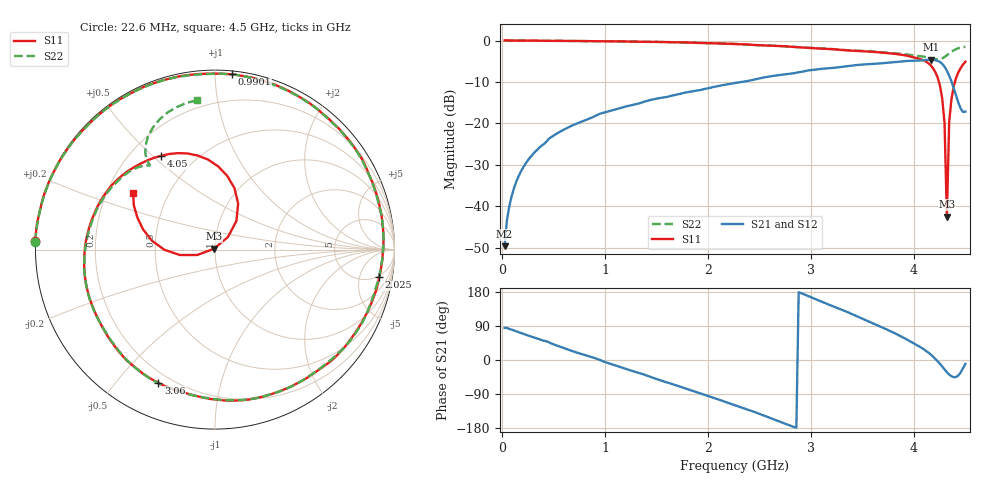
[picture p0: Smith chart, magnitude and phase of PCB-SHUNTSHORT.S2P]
!Agilent Technologies,E5071C,MY46101151,A.11.34
!Date: Mon Sep 17 23:23:37 2018
!Data & Calibration Information:
!Freq	S11:SOLT2(ON)	S21:SOLT2(ON)	S12:SOLT2(ON)	S22:SOLT2(ON)
!PortZ  Port1:50+j0  Port2:50+j0
!Above PortZ is port z conversion or system Z0 setting when saving the data.
!When reading, reference impedance value at option line is always used.
# Hz S dB R 50
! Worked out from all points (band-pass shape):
!   200 points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, 22.6 MHz to 4.5 GHz, reference 50 ohm
!   highest |S21| = -4.63 dB at 4.163 GHz (marker M1); lowest = -49.7 dB at 22.6 MHz (marker M2)
!   |S21| within 3 dB of the highest: 2.889 GHz to 4.327 GHz (1.438 GHz wide, 39.9 % of centre)
!   lowest |S11| = -42.5 dB at 4.32 GHz (marker M3), VSWR 1.02, Z = 49.4 + j0.482 ohm
!   |S11| at or under -10 dB: 4.243 GHz to 4.399 GHz (156 MHz wide, 3.61 % of centre)
!   |S22| runs from -4.5 to 0.0 dB; largest |S21 - S12| = 0.0017
!   S11 on the Smith chart (normalised r, x): 22.6 MHz: -0.00, +0.02; 990.1 MHz: 0.02, +1.10; 2.025 GHz: 5, -10; 3.06 GHz: 0.15, -0.65; 4.05 GHz: 0.33, +0.53; 4.5 GHz: 0.31, +0.28
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2.25995e7  0.02 177.4  -49.66 84.6  -49.63 85.9  0.02 177.4
4.5099e7  0.02 175.2  -43.44 84.7  -43.49 84.2  0.01 175.3
9.0098e7  0.01 170.8  -37.65 80.2  -37.60 79.9  -0.00 171.0
2.025955e8  -0.01 159.6  -30.66 69.2  -30.65 69.1  -0.01 160.0
7.875825e8  -0.12 103.2  -19.44 14.2  -19.42 14.1  -0.13 104.4
9.90078e8  -0.16 84.5  -17.39 -4.5  -17.38 -4.4  -0.17 85.7
1.530066e9  -0.33 35.4  -13.89 -53.2  -13.86 -53.3  -0.34 36.3
2.025055e9  -0.66 -9.6  -11.38 -97.1  -11.35 -97.0  -0.66 -9.3
2.27255e9  -0.86 -32.8  -10.22 -120.8  -10.21 -120.8  -0.83 -32.5
2.67754e9  -1.30 -72.6  -8.38 -160.9  -8.38 -160.9  -1.29 -72.0
3.015033e9  -1.82 -108.1  -7.08 163.8  -7.08 163.9  -1.79 -106.4
3.060032e9  -1.88 -113.1  -6.97 158.7  -6.94 158.8  -1.83 -111.2
3.442524e9  -2.49 -156.8  -5.91 115.7  -5.91 115.7  -2.43 -152.6
3.757516e9  -3.08 163.5  -5.33 77.9  -5.33 77.9  -2.97 171.7
4.05001e9  -4.41 119.7  -4.83 35.9  -4.83 35.9  -3.72 140.0
4.162508e9  -5.96 94.5  -4.63 14.7  -4.63 14.7  -4.29 130.0
4.275005e9  -14.02 53.2  -5.62 -17.6  -5.64 -17.5  -4.29 127.4
4.297504e9  -19.99 44.1  -6.32 -25.1  -6.33 -25.1  -3.97 127.0
4.320004e9  -42.50 139.5  -7.28 -32.2  -7.28 -32.1  -3.55 125.8
4.342504e9  -19.66 -163.1  -8.47 -38.3  -8.49 -38.2  -3.12 123.6
4.365003e9  -14.08 -171.2  -9.92 -42.9  -9.92 -42.8  -2.71 120.7
4.5e9  -5.10 145.3  -17.16 -10.2  -17.17 -10.1  -1.53 96.8
